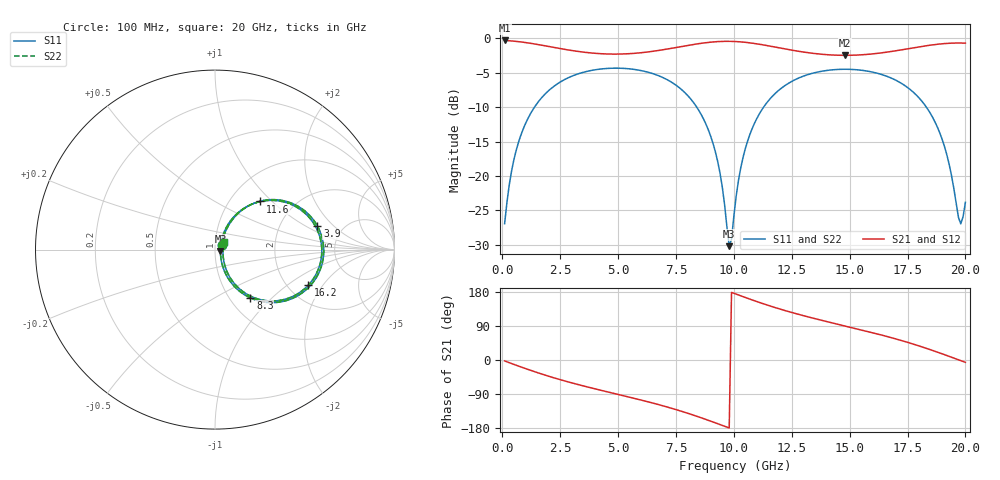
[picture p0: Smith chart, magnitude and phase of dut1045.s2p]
! Touchstone file exported from HFSS 2026.1.0
!  File:  C:/ffzhzh/LocalFiles/Ansys_Project_Files/temp_train_TSV_RDL_1045_1783296111_38704.aedt
!  Generated:  08:14:12 AM Jul  6, 2026
!  Design:  TSV_RDL
!  Project:  temp_train_TSV_RDL_1045_1783296111_38704
! Variables:
!  h_bsmrdl = 2.81um
!  h_ox = 20um
!  h_rdl = 5um
!  h_sub = 70.7um
!  h_tmrdl = 2.96um
!  h_tsv = 70.7um
!  h_via = 3um
!  l_bsmrdl = 586.53um
!  l_sub = 6187.9um
!  l_tmrdl = 979.17um
!  m_sub = 200um
!  pitch = 58.52um
!  r_tsv = 14.92um
!  s_tmrdl = 10um
!  w_bsmrdl = 12.24um
!  w_sub = 500um
!  w_tmrdl = 24.97um
!  x_tsv_center1 = 991.655um
!  x_tsv_center2 = 1590.425um
!  x_tsv_center3 = 2594.565um
!  x_tsv_center4 = 3193.335um
!  x_tsv_center5 = 4197.475um
!  x_tsv_center6 = 4796.245um
# GHz S MA R 50.000000
! Terminal data exported
! Port[1] = TM_RDL1_1_T1
! Port[2] = TM_RDL5_1_T1
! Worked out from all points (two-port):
!   200 points, 100 MHz to 20 GHz, reference 50 ohm
!   highest |S21| = -0.33 dB at 100 MHz (marker M1); lowest = -2.5 dB at 14.8 GHz (marker M2)
!   |S21| within 3 dB of the highest: start of sweep to end of sweep
!   lowest |S11| = -30.2 dB at 9.8 GHz (marker M3), VSWR 1.06, Z = 53.1 - j0.76 ohm
!   |S11| at or under -10 dB: start of sweep to 1.393 GHz; 8.396 GHz to 11.29 GHz (2.891 GHz wide, 29.4 % of centre); 18.31 GHz to end of sweep
!   |S22| runs from -30.1 to -4.3 dB; largest |S21 - S12| = 1.6e-14
!   S11 on the Smith chart (normalised r, x): 100 MHz: 1.08, +0.05; 3.9 GHz: 3.27, +1.30; 8.3 GHz: 1.24, -0.75; 11.6 GHz: 1.37, +0.85; 16.2 GHz: 2.56, -1.47; 20 GHz: 1.10, +0.09
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0.1  0.04501 33.4  0.9631 -2.4  0.9631 -2.4  0.04501 33.4
! Gamma 0 0 0 0
! Port Impedance 50 0 50 0
0.5  0.1311 60.5  0.952 -11.6  0.952 -11.6  0.1311 60.5
1.1  0.2598 56.1  0.9251 -24.7  0.9251 -24.7  0.2598 56.1
3.5  0.5657 18.7  0.7924 -68.4  0.7924 -68.4  0.5657 18.7
3.9  0.5857 12.9  0.7796 -74.5  0.7796 -74.5  0.5857 12.9
5.4  0.6012 -8.1  0.7708 -96.7  0.7708 -96.7  0.6012 -8.1
6.8  0.5301 -28.7  0.8172 -118.5  0.8172 -118.5  0.5301 -28.7
8.3  0.3338 -53.8  0.9032 -146.4  0.9032 -146.4  0.3338 -53.7
9.2  0.1503 -66.3  0.9424 -165.8  0.9424 -165.8  0.1503 -66.1
9.5  0.08334 -63.2  0.9481 -172.6  0.9481 -172.6  0.08348 -62.9
9.8  0.03091 -13.4  0.9491 -179.4  0.9491 -179.4  0.03138 -13.1
10.1  0.07113 57.2  0.9454 173.8  0.9454 173.8  0.07137 56.8
10.7  0.2017 60.7  0.925 160.4  0.925 160.4  0.2018 60.6
11.6  0.3688 46.6  0.8739 141.9  0.8739 141.9  0.3689 46.6
13.4  0.5567 18.3  0.7772 110.7  0.7772 110.7  0.5567 18.2
14.8  0.5951 -1.3  0.7511 89.8  0.7511 89.8  0.5951 -1.3
16.2  0.5564 -20.8  0.7761 68.7  0.7761 68.7  0.5564 -20.8
16.7  0.5219 -28.2  0.7963 60.6  0.7963 60.6  0.5219 -28.2
18.5  0.2823 -56.3  0.8911 26.9  0.8911 26.9  0.2824 -56.2
19.2  0.1421 -61.6  0.9168 11.8  0.9168 11.8  0.1422 -61.4
19.8  0.04487 -2.2  0.9228 -1.6  0.9228 -1.6  0.04528 -2.2
20  0.06429 38.5  0.921 -6.1  0.921 -6.1  0.06458 38.2
